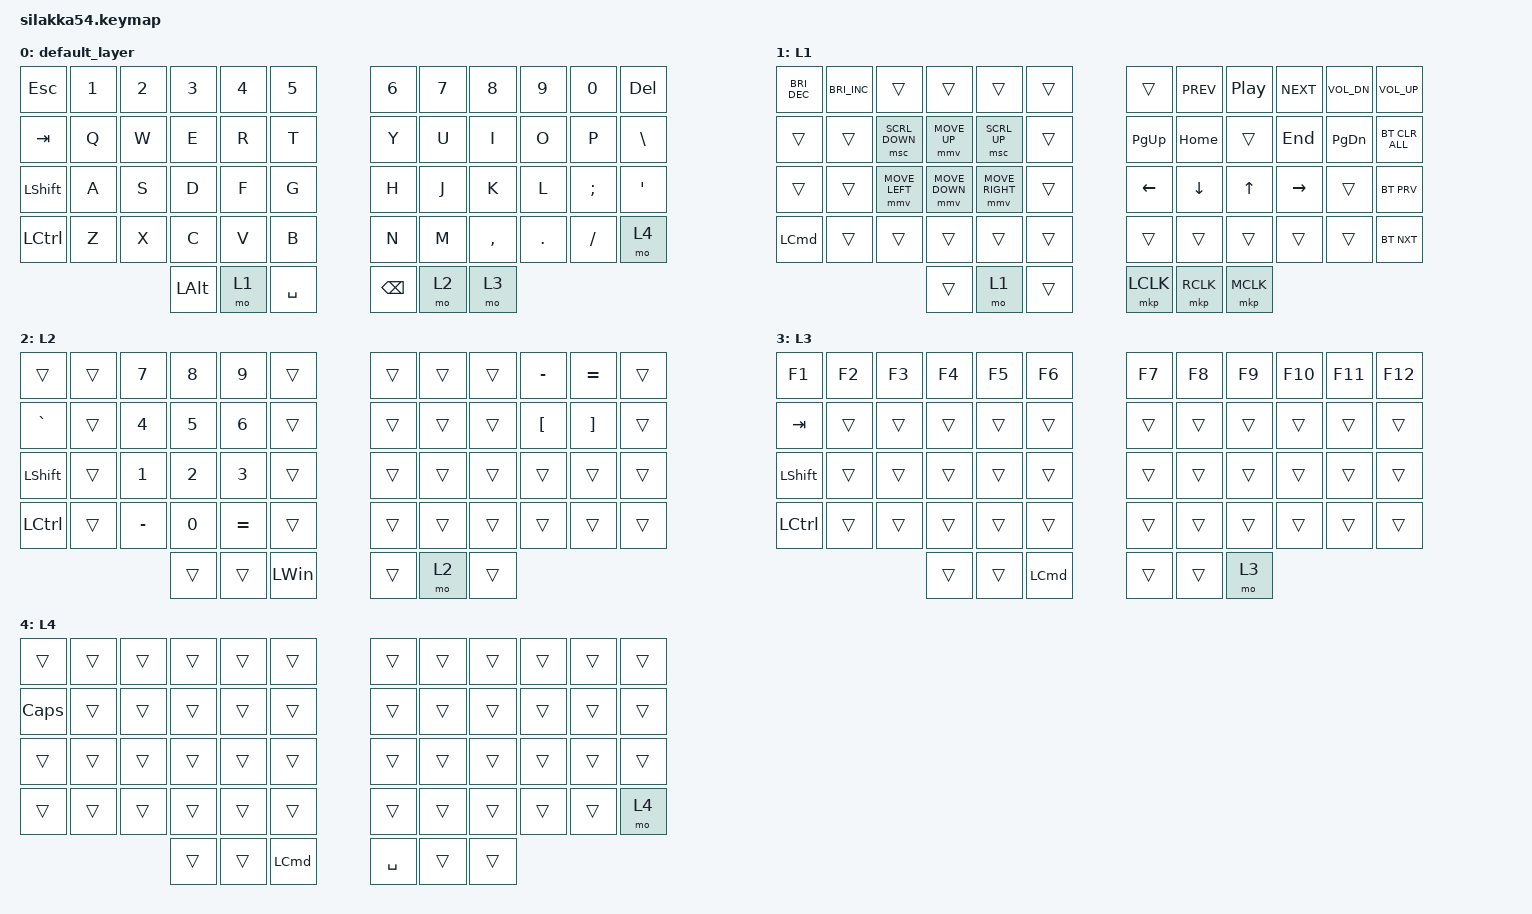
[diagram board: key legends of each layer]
#define ZMK_POINTING_DEFAULT_MOVE_VAL 1200
#define ZMK_POINTING_DEFAULT_SCRL_VAL 20

#include <behaviors.dtsi>
#include <dt-bindings/zmk/bt.h>
#include <dt-bindings/zmk/keys.h>
#include <dt-bindings/zmk/pointing.h>

/ {
    combos {
        compatible = "zmk,combos";

        enter {
            bindings = <&kp ENTER>;
            key-positions = <31 33 32>;
        };

        pv_desktop {
            bindings = <&kp LG(LC(LEFT_ARROW))>;
            key-positions = <30 36 48>;
        };

        nt_desktop {
            bindings = <&kp LG(LC(RIGHT_ARROW))>;
            key-positions = <33 36 48>;
        };

        show_desktops {
            bindings = <&kp LG(TAB)>;
            key-positions = <36 32 48>;
        };
    };

    keymap {
        compatible = "zmk,keymap";

        default_layer {
            bindings = <
&kp ESC    &kp NUMBER_1  &kp NUMBER_2  &kp NUMBER_3  &kp NUMBER_4  &kp NUMBER_5    &kp NUMBER_6   &kp NUMBER_7  &kp NUMBER_8  &kp NUMBER_9  &kp NUMBER_0   &kp DELETE
&kp TAB    &kp Q         &kp W         &kp E         &kp R         &kp T           &kp Y          &kp U         &kp I         &kp O         &kp P          &kp BACKSLASH
&kp LSHFT  &kp A         &kp S         &kp D         &kp F         &kp G           &kp H          &kp J         &kp K         &kp L         &kp SEMICOLON  &kp SINGLE_QUOTE
&kp LCTRL  &kp Z         &kp X         &kp C         &kp V         &kp B           &kp N          &kp M         &kp COMMA     &kp PERIOD    &kp SLASH      &mo 4
                                       &kp LEFT_ALT  &mo 1         &kp SPACE       &kp BACKSPACE  &mo 2         &mo 3
            >;
        };

        L1 {
            bindings = <
&kp C_BRIGHTNESS_DEC  &kp C_BRIGHTNESS_INC  &trans          &trans          &trans           &trans    &trans          &kp C_PREV      &kp C_PLAY_PAUSE  &kp C_NEXT       &kp C_VOL_DN   &kp C_VOLUME_UP
&trans                &trans                &msc SCRL_DOWN  &mmv MOVE_UP    &msc SCRL_UP     &trans    &kp PAGE_UP     &kp HOME        &trans            &kp END          &kp PAGE_DOWN  &bt BT_CLR_ALL
&trans                &trans                &mmv MOVE_LEFT  &mmv MOVE_DOWN  &mmv MOVE_RIGHT  &trans    &kp LEFT_ARROW  &kp DOWN_ARROW  &kp UP_ARROW      &kp RIGHT_ARROW  &trans         &bt BT_PRV
&kp LEFT_COMMAND      &trans                &trans          &trans          &trans           &trans    &trans          &trans          &trans            &trans           &trans         &bt BT_NXT
                                                            &trans          &mo 1            &trans    &mkp LCLK       &mkp RCLK       &mkp MCLK
            >;
        };

        L2 {
            bindings = <
&trans          &trans  &kp N7     &kp N8  &kp N9     &trans          &trans  &trans  &trans  &kp MINUS  &kp EQUAL  &trans
&kp GRAVE       &trans  &kp N4     &kp N5  &kp N6     &trans          &trans  &trans  &trans  &kp LBKT   &kp RBKT   &trans
&kp LEFT_SHIFT  &trans  &kp N1     &kp N2  &kp N3     &trans          &trans  &trans  &trans  &trans     &trans     &trans
&kp LCTRL       &trans  &kp MINUS  &kp N0  &kp EQUAL  &trans          &trans  &trans  &trans  &trans     &trans     &trans
                                   &trans  &trans     &kp LEFT_WIN    &trans  &mo 2   &trans
            >;
        };

        L3 {
            bindings = <
&kp F1            &kp F2  &kp F3  &kp F4  &kp F5  &kp F6              &kp F7  &kp F8  &kp F9  &kp F10  &kp F11  &kp F12
&kp TAB           &trans  &trans  &trans  &trans  &trans              &trans  &trans  &trans  &trans   &trans   &trans
&kp LEFT_SHIFT    &trans  &trans  &trans  &trans  &trans              &trans  &trans  &trans  &trans   &trans   &trans
&kp LEFT_CONTROL  &trans  &trans  &trans  &trans  &trans              &trans  &trans  &trans  &trans   &trans   &trans
                                  &trans  &trans  &kp LEFT_COMMAND    &trans  &trans  &mo 3
            >;
        };

        L4 {
            bindings = <
&trans    &trans  &trans  &trans  &trans  &trans              &trans     &trans  &trans  &trans  &trans  &trans
&kp CAPS  &trans  &trans  &trans  &trans  &trans              &trans     &trans  &trans  &trans  &trans  &trans
&trans    &trans  &trans  &trans  &trans  &trans              &trans     &trans  &trans  &trans  &trans  &trans
&trans    &trans  &trans  &trans  &trans  &trans              &trans     &trans  &trans  &trans  &trans  &mo 4
                          &trans  &trans  &kp LEFT_COMMAND    &kp SPACE  &trans  &trans
            >;
        };
    };
};
